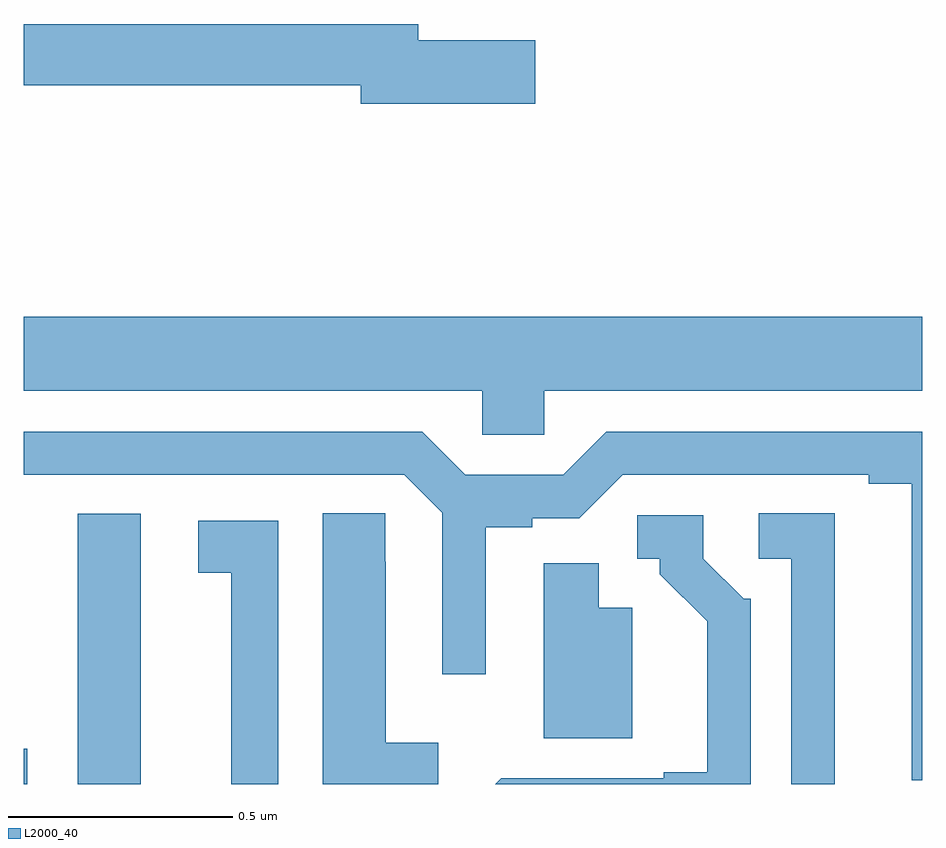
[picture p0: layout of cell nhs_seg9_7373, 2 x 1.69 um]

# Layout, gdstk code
import gdstk
lib = gdstk.Library(unit=1e-6, precision=1e-09)
def R(c, l, rs):  # rectangles x0, y0, x1, y1
    for r in rs: c.add(gdstk.rectangle(r[:2], r[2:], *l))
def P(c, l, *ps):  # polygons
    for p in ps: c.add(gdstk.Polygon(p, *l))
L2000_40 = (2000, 40)

nhs_seg9_7373 = lib.new_cell('nhs_seg9_7373')
R(nhs_seg9_7373, L2000_40, [(203,1239.5,203.008,1239.579), (203.12,1239.5,203.26,1240.102)])
P(nhs_seg9_7373, L2000_40, [(204.139,1241.156),(203.878,1241.156),(203.878,1241.192),(203,1241.192),(203,1241.056),(203.75,1241.056),(203.75,1241.014),(204.139,1241.014)],
  [(204.159,1240.376),(205,1240.376),(205,1240.54),(203,1240.54),(203,1240.376),(204.021,1240.376),(204.021,1240.278),(204.159,1240.278)],
  [(205,1240.284),(204.297,1240.284),(204.201,1240.188),(203.983,1240.188),(203.887,1240.284),(203,1240.284),(203,1240.188),(203.847,1240.188),(203.931,1240.104),(203.931,1239.744),(204.028,1239.744),(204.028,1240.072),(204.132,1240.072),(204.132,1240.092),(204.237,1240.092),(204.333,1240.188),(204.881,1240.188),(204.881,1240.168),(204.977,1240.168),(204.977,1239.508),(205,1239.508)],
  [(203.923,1239.592),(203.806,1239.592),(203.806,1239.995),(203.805,1239.995),(203.805,1240.103),(203.666,1240.103),(203.666,1239.5),(203.923,1239.5)],
  [(204.805,1240.103),(204.636,1240.103),(204.636,1240.002),(204.708,1240.002),(204.708,1239.5),(204.805,1239.5)],
  [(204.618,1239.912),(204.603,1239.912),(204.513,1240.002),(204.513,1240.098),(204.366,1240.098),(204.366,1240.002),(204.416,1240.002),(204.416,1239.967),(204.521,1239.862),(204.521,1239.526),(204.425,1239.526),(204.425,1239.513),(204.063,1239.513),(204.05,1239.5),(204.618,1239.5)],
  [(203.566,1240.086),(203.388,1240.086),(203.388,1239.97),(203.462,1239.97),(203.462,1239.5),(203.566,1239.5)],
  [(204.355,1239.892),(204.28,1239.892),(204.28,1239.991),(204.158,1239.991),(204.158,1239.602),(204.355,1239.602)])

lib.write_gds('nhs_seg9_7373.gds')
